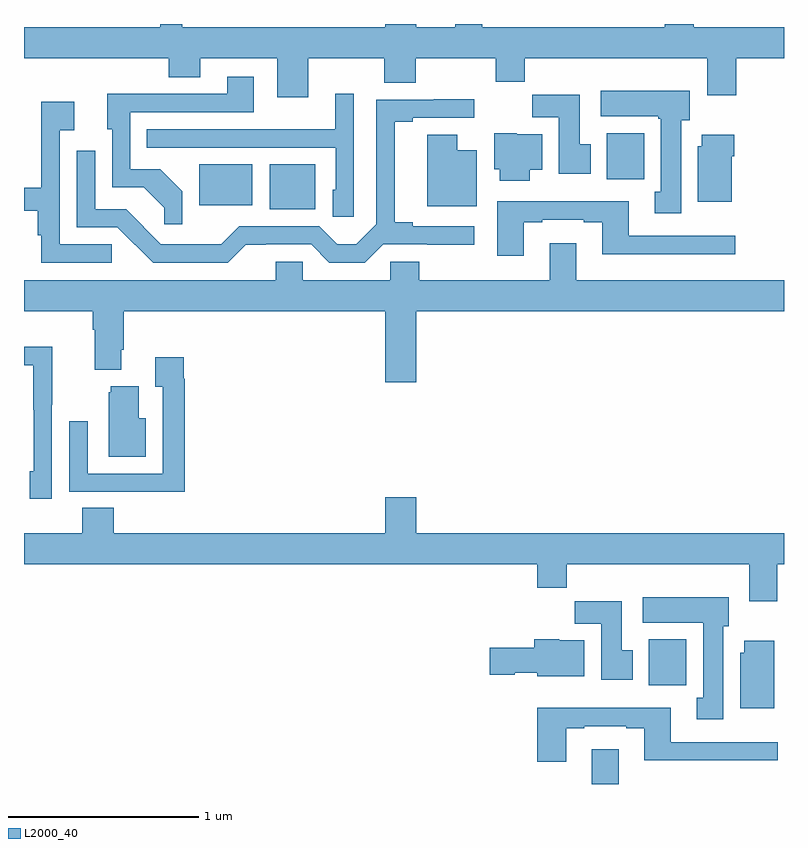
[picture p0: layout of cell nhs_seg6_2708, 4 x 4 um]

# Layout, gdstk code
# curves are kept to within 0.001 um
import gdstk
lib = gdstk.Library(unit=1e-6, precision=1e-09)
def R(c, l, rs):  # rectangles x0, y0, x1, y1
    for r in rs: c.add(gdstk.rectangle(r[:2], r[2:], *l))
def P(c, l, *ps):  # polygons
    for p in ps: c.add(gdstk.Polygon(p, *l))
L2000_40 = (2000, 40)

nhs_seg6_2708 = lib.new_cell('nhs_seg6_2708')
R(nhs_seg6_2708, L2000_40, [(273.989,959.5,274.129,959.683), (274.289,960.02,274.486,960.262), (272.294,962.525,272.533,962.761), (271.922,962.546,272.2,962.761), (274.067,962.684,274.264,962.926)])
P(nhs_seg6_2708, L2000_40, [(272.497,963.32),(272.897,963.32),(272.897,963.192),(273.061,963.192),(273.061,963.32),(273.484,963.32),(273.484,963.196),(273.635,963.196),(273.635,963.32),(274.595,963.32),(274.595,963.126),(274.748,963.126),(274.748,963.32),(275,963.32),(275,963.484),(274.526,963.484),(274.526,963.5),(274.373,963.5),(274.373,963.484),(273.413,963.484),(273.413,963.5),(273.269,963.5),(273.269,963.484),(273.064,963.484),(273.064,963.5),(272.9,963.5),(272.9,963.484),(271.834,963.484),(271.834,963.5),(271.717,963.5),(271.717,963.484),(271,963.484),(271,963.32),(271.763,963.32),(271.763,963.221),(271.927,963.221),(271.927,963.32),(272.333,963.32),(272.333,963.114),(272.497,963.114)],
  [(271.833,962.62),(271.717,962.736),(271.56,962.736),(271.56,963.036),(272.209,963.036),(272.209,963.223),(272.069,963.223),(272.069,963.132),(271.657,963.132),(271.657,963.134),(271.439,963.134),(271.439,962.946),(271.464,962.946),(271.464,962.64),(271.63,962.64),(271.738,962.532),(271.738,962.445),(271.833,962.445)],
  [(274.459,962.994),(274.504,962.994),(274.504,963.148),(274.035,963.148),(274.035,963.014),(274.339,963.014),(274.339,963.001),(274.352,963.001),(274.352,962.618),(274.319,962.618),(274.319,962.505),(274.459,962.505)],
  [(272.736,963.133),(272.639,963.133),(272.639,962.947),(272.305,962.947),(272.305,962.946),(271.645,962.946),(271.645,962.85),(272.64,962.85),(272.64,962.628),(272.624,962.628),(272.624,962.485),(272.736,962.485)],
  [(273.982,962.868),(273.925,962.868),(273.925,963.127),(273.676,963.127),(273.676,963.008),(273.815,963.008),(273.815,962.712),(273.982,962.712)],
  [(272.168,962.339),(272.511,962.34),(272.607,962.244),(272.794,962.244),(272.89,962.34),(273.37,962.339),(273.37,962.436),(273.046,962.436),(273.046,962.456),(272.95,962.456),(272.95,962.986),(273.046,962.986),(273.046,963.006),(273.37,963.006),(273.37,963.104),(273.157,963.104),(273.157,963.102),(272.853,963.102),(272.853,962.445),(272.749,962.341),(272.648,962.341),(272.553,962.436),(272.133,962.436),(272.039,962.342),(271.934,962.342),(271.934,962.34),(271.719,962.34),(271.629,962.43),(271.631,962.432),(271.537,962.526),(271.374,962.526),(271.374,962.833),(271.278,962.833),(271.278,962.43),(271.491,962.43),(271.679,962.244),(272.073,962.244)],
  [(271.461,962.34),(271.188,962.34),(271.188,962.942),(271.264,962.942),(271.264,963.091),(271.091,963.091),(271.091,962.639),(271,962.639),(271,962.518),(271.072,962.518),(271.072,962.387),(271.091,962.387),(271.091,962.244),(271.461,962.244)],
  [(273.661,962.732),(273.727,962.732),(273.727,962.92),(273.594,962.92),(273.594,962.926),(273.476,962.926),(273.476,962.736),(273.503,962.736),(273.503,962.675),(273.661,962.675)],
  [(274.726,962.804),(274.739,962.804),(274.739,962.917),(274.568,962.917),(274.568,962.856),(274.547,962.856),(274.547,962.564),(274.726,962.564)],
  [(273.382,962.836),(273.28,962.836),(273.28,962.917),(273.122,962.917),(273.122,962.54),(273.382,962.54)],
  [(273.631,962.457),(273.727,962.457),(273.727,962.469),(273.947,962.469),(273.947,962.457),(274.043,962.457),(274.043,962.288),(274.744,962.288),(274.744,962.385),(274.183,962.385),(274.183,962.566),(273.491,962.566),(273.491,962.28),(273.631,962.28)],
  [(273.064,961.988),(275,961.988),(275,962.152),(273.907,962.152),(273.907,962.347),(273.767,962.347),(273.767,962.152),(273.08,962.152),(273.08,962.25),(272.928,962.25),(272.928,962.152),(272.466,962.152),(272.466,962.25),(272.324,962.25),(272.324,962.152),(271,962.152),(271,961.988),(271.361,961.988),(271.361,961.892),(271.373,961.892),(271.373,961.679),(271.513,961.679),(271.513,961.786),(271.526,961.786),(271.526,961.988),(272.9,961.988),(272.9,961.614),(273.064,961.614)],
  [(271.146,961.495),(271.149,961.495),(271.149,961.802),(271,961.802),(271,961.704),(271.049,961.704),(271.049,961.471),(271.05,961.471),(271.05,961.146),(271.031,961.146),(271.031,961.002),(271.146,961.002)],
  [(271.847,961.634),(271.84,961.634),(271.84,961.747),(271.691,961.747),(271.691,961.591),(271.731,961.591),(271.731,961.134),(271.335,961.134),(271.335,961.408),(271.239,961.408),(271.239,961.038),(271.555,961.038),(271.555,961.037),(271.847,961.037)],
  [(271.642,961.426),(271.603,961.426),(271.603,961.594),(271.457,961.594),(271.457,961.563),(271.445,961.563),(271.445,961.223),(271.642,961.223)],
  [(274.965,960.656),(275,960.656),(275,960.82),(273.064,960.82),(273.064,961.009),(272.9,961.009),(272.9,960.82),(271.472,960.82),(271.472,960.953),(271.307,960.953),(271.307,960.82),(271,960.82),(271,960.656),(273.701,960.656),(273.701,960.532),(273.857,960.532),(273.857,960.656),(274.817,960.656),(274.817,960.462),(274.965,960.462)],
  [(274.681,960.33),(274.708,960.33),(274.708,960.484),(274.257,960.484),(274.257,960.35),(274.574,960.35),(274.574,959.954),(274.541,959.954),(274.541,959.841),(274.681,959.841)],
  [(274.204,960.204),(274.147,960.204),(274.147,960.463),(273.898,960.463),(273.898,960.344),(274.037,960.344),(274.037,960.048),(274.204,960.048)],
  [(273.949,960.256),(273.816,960.256),(273.816,960.262),(273.686,960.262),(273.686,960.216),(273.45,960.216),(273.45,960.074),(273.582,960.074),(273.582,960.086),(273.702,960.086),(273.702,960.068),(273.949,960.068)],
  [(274.948,960.253),(274.79,960.253),(274.79,960.192),(274.769,960.192),(274.769,959.9),(274.948,959.9)],
  [(273.853,959.793),(273.949,959.793),(273.949,959.805),(274.169,959.805),(274.169,959.793),(274.265,959.793),(274.265,959.624),(274.966,959.624),(274.966,959.721),(274.405,959.721),(274.405,959.902),(273.701,959.902),(273.701,959.616),(273.853,959.616)])

lib.write_gds('nhs_seg6_2708.gds')
